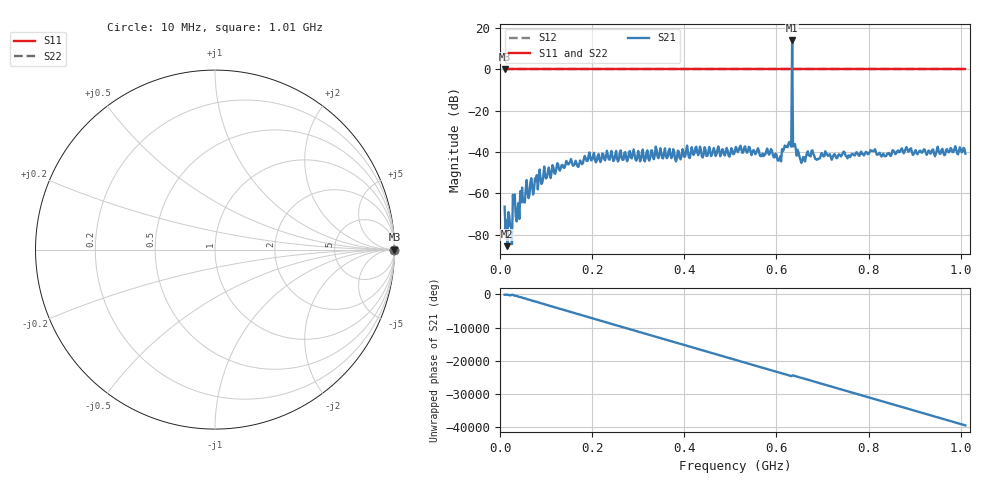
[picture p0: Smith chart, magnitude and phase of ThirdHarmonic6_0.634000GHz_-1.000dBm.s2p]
! 8/15/2025 8:56:53 PM
! C:\ANRITSUVNA\TEMP\TEMP.S2P
! CHANNEL.1
! TR.MEASUREMENT
! RAW.DATA
! RF.CORRECTION.OFF
! AVERAGING.OFF
! IF.BANDWIDTH: 5KHZ
! SWEEPTYPE:  FREQ.SWEEP(Linear)
! Reference Plane Port Info
! PORT:  PORT1  PORT2
! DISTANCE:  0  m  0  m
! TIME:  0  s  0  s
! PHASE.OFFSET:  0  deg.  0  deg.
! LOSS:  0  dB  0  dB
! REF.LOSS:  0  dB  0  dB
! REF.FREQ:  0  Hz  0  Hz
! Power Info
! POWER:  -20  dBm  -20  dBm
! EFF.POWER:  -20  dBm  -20  dBm
! SOURCE.ATTEN:  0  dB  0  dB
! TEST.ATTEN:  0  dB  0  dB
# GHZ S RI R 50.0
! FREQ.GHZ  S11RE  S11IM  S21RE  S21IM  S12RE  S12IM  S22RE  S22IM
!; PortSelection: Port_12
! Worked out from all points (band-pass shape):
!   501 points, 10 MHz to 1.01 GHz, reference 50 ohm
!   highest |S21| = 13.98 dB at 634 MHz (marker M1); lowest = -85.6 dB at 16 MHz (marker M2)
!   |S21| within 3 dB of the highest: 633.8832 MHz to 634.117 MHz (233.8 kHz wide, 0.0369 % of centre)
!   lowest |S11| = 0.0 dB at 10 MHz (marker M3)
!   |S11| at or under -10 dB: nowhere
!   |S22| runs from 0.0 to 0.0 dB; largest |S21 - S12| = 4
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0.01  1 0  -0.0004 -0.000256  1 0  1 0
0.016  1 0  9e-06 -5.2e-05  1 0  1 0
0.022  1 0  0.000137 9.04e-05  1 0  1 0
0.032  1 0  -0.000208 -0.000908  1 0  1 0
0.038  1 0  -0.000339 0.000204  1 0  1 0
0.048  1 0  0.000611 0.00124  1 0  1 0
0.082  1 0  -0.000643 0.00107  1 0  1 0
0.178  1 0  -0.00508 0.000248  1 0  1 0
0.344  1 0  0.00589 -0.00392  1 0  1 0
0.51  1 0  -0.00881 0.00606  1 0  1 0
0.584  1 0  0.00752 0.00427  1 0  1 0
0.606  1 0  -0.000892 -0.00659  1 0  1 0
0.628  1 0  0.00777 0.0157  1 0  1 0
0.63  1 0  0.0136 -0.00734  1 0  1 0
0.634  1 0  4.966 0.594  1 0  1 0
0.638  1 0  0.0155 0.000742  1 0  1 0
0.64  1 0  0.000252 -0.0156  1 0  1 0
0.654  1 0  0.000205 0.00546  1 0  1 0
0.678  1 0  -0.0102 -0.00406  1 0  1 0
0.688  1 0  -0.00631 0.00135  1 0  1 0
0.844  1 0  0.00858 0.00414  1 0  1 0
1.01  1 0  -0.00914 0.000153  1 0  1 0
